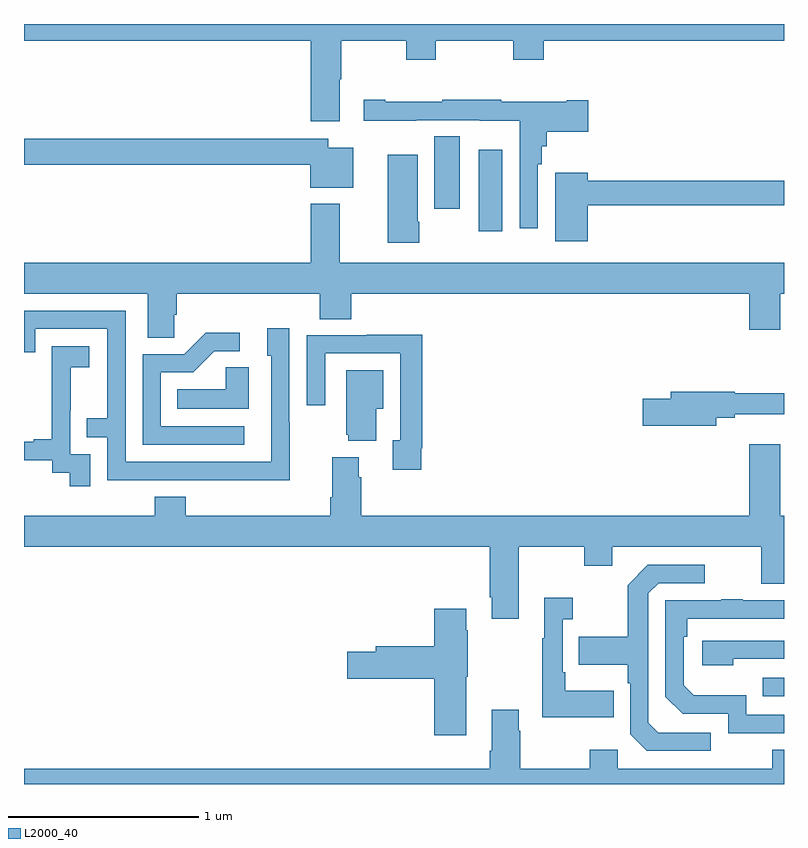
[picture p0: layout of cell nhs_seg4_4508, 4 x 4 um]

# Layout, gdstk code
import gdstk
lib = gdstk.Library(unit=1e-6, precision=1e-09)
def R(c, l, rs):  # rectangles x0, y0, x1, y1
    for r in rs: c.add(gdstk.rectangle(r[:2], r[2:], *l))
def P(c, l, *ps):  # polygons
    for p in ps: c.add(gdstk.Polygon(p, *l))
L2000_40 = (2000, 40)

nhs_seg4_4508 = lib.new_cell('nhs_seg4_4508')
R(nhs_seg4_4508, L2000_40, [(356.887,801.363,357,801.459), (355.394,803.808,355.516,804.238), (355.16,803.928,355.294,804.308)])
P(nhs_seg4_4508, L2000_40, [(354.661,804.608),(354.669,804.608),(354.669,804.812),(355.012,804.812),(355.012,804.713),(355.167,804.713),(355.167,804.812),(355.576,804.812),(355.576,804.713),(355.736,804.713),(355.736,804.812),(357,804.812),(357,804.9),(353,804.9),(353,804.812),(354.509,804.812),(354.509,804.387),(354.661,804.387)],
  [(355.704,804.161),(355.724,804.161),(355.724,804.257),(355.751,804.257),(355.751,804.332),(355.969,804.332),(355.969,804.498),(355.856,804.498),(355.856,804.492),(355.511,804.492),(355.511,804.502),(355.201,804.502),(355.201,804.492),(354.901,804.492),(354.901,804.502),(354.789,804.502),(354.789,804.392),(355.064,804.392),(355.064,804.393),(355.398,804.393),(355.398,804.392),(355.608,804.392),(355.608,803.826),(355.704,803.826)],
  [(354.733,804.25),(354.6,804.25),(354.6,804.296),(353,804.296),(353,804.16),(354.506,804.16),(354.506,804.038),(354.733,804.038)],
  [(355.08,803.86),(355.072,803.86),(355.072,804.211),(354.914,804.211),(354.914,803.748),(355.08,803.748)],
  [(355.967,803.946),(357,803.946),(357,804.074),(355.967,804.074),(355.967,804.118),(355.796,804.118),(355.796,803.757),(355.967,803.757)],
  [(353.79,803.371),(353.804,803.371),(353.804,803.48),(354.557,803.48),(354.557,803.347),(354.722,803.347),(354.722,803.48),(356.816,803.48),(356.816,803.292),(356.98,803.292),(356.98,803.48),(357,803.48),(357,803.644),(354.661,803.644),(354.661,803.953),(354.509,803.953),(354.509,803.644),(353,803.644),(353,803.48),(353.651,803.48),(353.651,803.248),(353.79,803.248)],
  [(354.399,802.805),(354.396,802.805),(354.396,803.299),(354.281,803.299),(354.281,803.154),(354.3,803.154),(354.3,802.596),(353.535,802.596),(353.535,803.391),(353,803.391),(353,803.172),(353.058,803.172),(353.058,803.295),(353.439,803.295),(353.439,802.826),(353.329,802.826),(353.329,802.725),(353.439,802.725),(353.439,802.5),(353.935,802.5),(353.935,802.499),(354.399,802.499)],
  [(354.16,802.782),(353.721,802.782),(353.721,803.067),(353.89,803.067),(354.001,803.178),(354.136,803.178),(354.136,803.276),(353.957,803.276),(353.844,803.163),(353.625,803.163),(353.625,802.686),(354.16,802.686)],
  [(355.09,802.666),(355.097,802.666),(355.097,803.264),(354.805,803.264),(354.805,803.262),(354.489,803.262),(354.489,802.893),(354.585,802.893),(354.585,803.166),(354.981,803.166),(354.981,802.71),(354.941,802.71),(354.941,802.554),(355.09,802.554)],
  [(353.349,802.635),(353.244,802.635),(353.244,802.865),(353.246,802.865),(353.246,803.093),(353.344,803.093),(353.344,803.203),(353.146,803.203),(353.146,802.997),(353.147,802.997),(353.147,802.714),(353.051,802.714),(353.051,802.701),(353,802.701),(353,802.605),(353.148,802.605),(353.148,802.537),(353.241,802.537),(353.241,802.467),(353.349,802.467)],
  [(354.184,803.093),(354.063,803.093),(354.063,802.978),(353.806,802.978),(353.806,802.874),(354.184,802.874)],
  [(354.853,802.874),(354.892,802.874),(354.892,803.077),(354.695,803.077),(354.695,802.737),(354.707,802.737),(354.707,802.706),(354.853,802.706)],
  [(356.644,802.828),(356.74,802.828),(356.74,802.847),(357,802.847),(357,802.957),(356.74,802.957),(356.74,802.964),(356.405,802.964),(356.405,802.928),(356.256,802.928),(356.256,802.786),(356.644,802.786)],
  [(355.451,801.883),(355.463,801.883),(355.463,801.771),(355.603,801.771),(355.603,802.148),(355.948,802.148),(355.948,802.049),(356.095,802.049),(356.095,802.148),(356.879,802.148),(356.879,801.954),(357,801.954),(357,802.312),(356.98,802.312),(356.98,802.687),(356.816,802.687),(356.816,802.312),(354.776,802.312),(354.776,802.514),(354.763,802.514),(354.763,802.621),(354.623,802.621),(354.623,802.408),(354.611,802.408),(354.611,802.312),(353.852,802.312),(353.852,802.411),(353.687,802.411),(353.687,802.312),(353,802.312),(353,802.148),(355.451,802.148)],
  [(356.614,801.171),(356.337,801.171),(356.286,801.222),(356.286,801.903),(356.34,801.957),(356.584,801.957),(356.584,802.053),(356.283,802.053),(356.178,801.947),(356.178,801.675),(355.921,801.675),(355.921,801.527),(356.178,801.527),(356.178,801.431),(356.19,801.431),(356.19,801.162),(356.277,801.075),(356.614,801.075)],
  [(356.105,801.391),(355.849,801.391),(355.849,801.487),(355.836,801.487),(355.836,801.767),(355.888,801.767),(355.888,801.88),(355.739,801.88),(355.739,801.667),(355.728,801.667),(355.728,801.251),(356.105,801.251)],
  [(357,801.264),(356.802,801.264),(356.802,801.367),(356.525,801.367),(356.472,801.42),(356.472,801.674),(356.492,801.674),(356.492,801.771),(357,801.771),(357,801.867),(356.783,801.867),(356.783,801.872),(356.671,801.872),(356.671,801.867),(356.376,801.867),(356.376,801.36),(356.466,801.27),(356.706,801.27),(356.706,801.168),(357,801.168)],
  [(355.327,801.465),(355.335,801.465),(355.335,801.71),(355.327,801.71),(355.327,801.823),(355.16,801.823),(355.16,801.626),(354.851,801.626),(354.851,801.596),(354.702,801.596),(354.702,801.454),(355.16,801.454),(355.16,801.156),(355.327,801.156)],
  [(356.732,801.558),(357,801.558),(357,801.654),(356.571,801.654),(356.571,801.524),(356.732,801.524)],
  [(357,801.079),(356.938,801.079),(356.938,800.98),(356.124,800.98),(356.124,801.079),(355.978,801.079),(355.978,800.98),(355.611,800.98),(355.611,801.179),(355.603,801.179),(355.603,801.292),(355.463,801.292),(355.463,801.076),(355.451,801.076),(355.451,800.98),(353,800.98),(353,800.9),(357,800.9)])

lib.write_gds('nhs_seg4_4508.gds')
